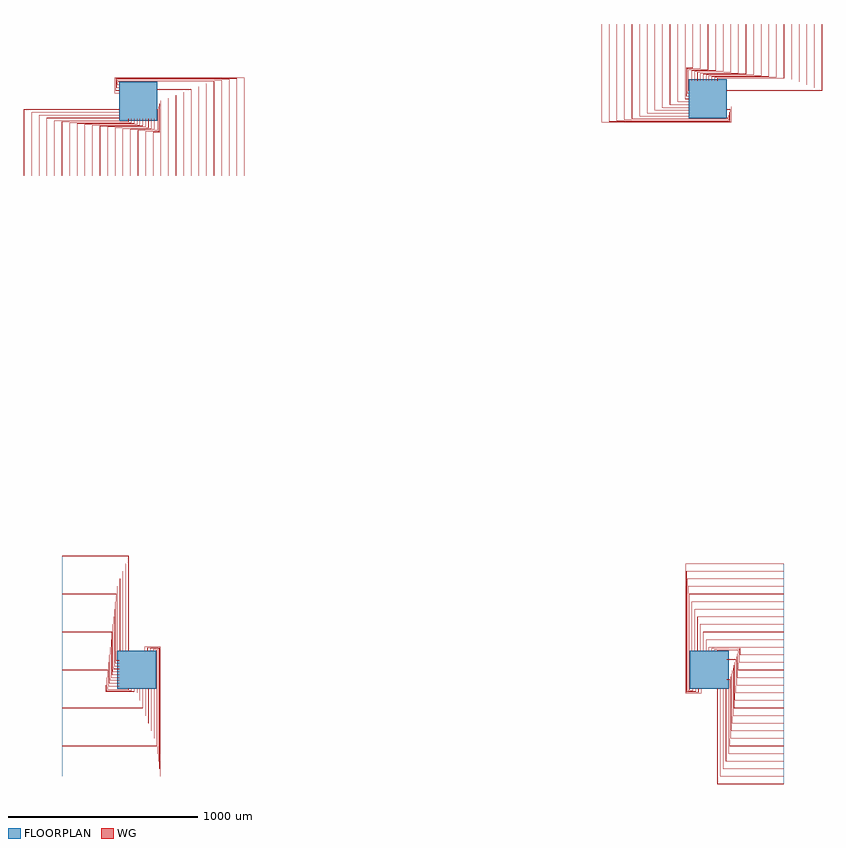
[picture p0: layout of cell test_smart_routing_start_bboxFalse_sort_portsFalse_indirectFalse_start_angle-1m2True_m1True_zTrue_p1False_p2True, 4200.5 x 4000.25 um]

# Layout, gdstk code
import gdstk
lib = gdstk.Library(unit=1e-6, precision=1e-09)
def R(c, l, rs):  # rectangles x0, y0, x1, y1
    for r in rs: c.add(gdstk.rectangle(r[:2], r[2:], *l))
def P(c, l, *ps):  # polygons
    for p in ps: c.add(gdstk.Polygon(p, *l))
WG = (1, 0)
FLOORPLAN = (10, 0)

test_smart_routing_start = lib.new_cell('test_smart_routing_start_bboxFalse_sort_portsFalse_indirectFalse_start_angle-1m2True_m1True_zTrue_p1False_p2True')
P(test_smart_routing_start, WG, [(3100,3049.75),(3100,3050.25),(3599.75,3050.25),(3599.75,3400),(3600.25,3400),(3600.25,3049.75)],
  [(3100,3064.75),(3100,3065.25),(3559.75,3065.25),(3559.75,3400),(3560.25,3400),(3560.25,3064.75)],
  [(3100,3079.75),(3100,3080.25),(3519.75,3080.25),(3519.75,3400),(3520.25,3400),(3520.25,3079.75)],
  [(3100,3094.75),(3100,3095.25),(3479.75,3095.25),(3479.75,3400),(3480.25,3400),(3480.25,3094.75)],
  [(3100,3109.75),(3100,3110.25),(3439.75,3110.25),(3439.75,3400),(3440.25,3400),(3440.25,3109.75)],
  [(3049.75,3100),(3049.75,3114.75),(3399.75,3114.75),(3399.75,3400),(3400.25,3400),(3400.25,3114.25),(3050.25,3114.25),(3050.25,3100)],
  [(3034.75,3100),(3034.75,3119.25),(3359.75,3119.25),(3359.75,3400),(3360.25,3400),(3360.25,3118.75),(3035.25,3118.75),(3035.25,3100)],
  [(3019.75,3100),(3019.75,3123.75),(3319.75,3123.75),(3319.75,3400),(3320.25,3400),(3320.25,3123.25),(3020.25,3123.25),(3020.25,3100)],
  [(3004.75,3100),(3004.75,3128.25),(3279.75,3128.25),(3279.75,3400),(3280.25,3400),(3280.25,3127.75),(3005.25,3127.75),(3005.25,3100)],
  [(2989.75,3100),(2989.75,3132.75),(3239.75,3132.75),(3239.75,3400),(3240.25,3400),(3240.25,3132.25),(2990.25,3132.25),(2990.25,3100)],
  [(2974.75,3100),(2974.75,3137.25),(3199.75,3137.25),(3199.75,3400),(3200.25,3400),(3200.25,3136.75),(2975.25,3136.75),(2975.25,3100)],
  [(2959.75,3100),(2959.75,3141.75),(3159.75,3141.75),(3159.75,3400),(3160.25,3400),(3160.25,3141.25),(2960.25,3141.25),(2960.25,3100)],
  [(2944.75,3100),(2944.75,3146.25),(3119.75,3146.25),(3119.75,3400),(3120.25,3400),(3120.25,3145.75),(2945.25,3145.75),(2945.25,3100)],
  [(2929.75,3100),(2929.75,3150.75),(3079.75,3150.75),(3079.75,3400),(3080.25,3400),(3080.25,3150.25),(2930.25,3150.25),(2930.25,3100)],
  [(2914.75,3100),(2914.75,3155.25),(3039.75,3155.25),(3039.75,3400),(3040.25,3400),(3040.25,3154.75),(2915.25,3154.75),(2915.25,3100)],
  [(2895.5,3049.75),(2895.5,3159.75),(2999.75,3159.75),(2999.75,3400),(3000.25,3400),(3000.25,3159.25),(2896,3159.25),(2896,3050.25),(2900,3050.25),(2900,3049.75)],
  [(2891,3034.75),(2891,3164.25),(2959.75,3164.25),(2959.75,3400),(2960.25,3400),(2960.25,3163.75),(2891.5,3163.75),(2891.5,3035.25),(2900,3035.25),(2900,3034.75)],
  [(2886.5,3019.75),(2886.5,3168.75),(2919.75,3168.75),(2919.75,3400),(2920.25,3400),(2920.25,3168.25),(2887,3168.25),(2887,3020.25),(2900,3020.25),(2900,3019.75)],
  [(2879.75,3004.75),(2879.75,3400),(2880.25,3400),(2880.25,3005.25),(2900,3005.25),(2900,3004.75)],
  [(2839.75,2989.75),(2839.75,3400),(2840.25,3400),(2840.25,2990.25),(2900,2990.25),(2900,2989.75)],
  [(2799.75,2974.75),(2799.75,3400),(2800.25,3400),(2800.25,2975.25),(2900,2975.25),(2900,2974.75)],
  [(2759.75,2959.75),(2759.75,3400),(2760.25,3400),(2760.25,2960.25),(2900,2960.25),(2900,2959.75)],
  [(2719.75,2944.75),(2719.75,3400),(2720.25,3400),(2720.25,2945.25),(2900,2945.25),(2900,2944.75)],
  [(2679.75,2929.75),(2679.75,3400),(2680.25,3400),(2680.25,2930.25),(2900,2930.25),(2900,2929.75)],
  [(2639.75,2914.75),(2639.75,3400),(2640.25,3400),(2640.25,2915.25),(2900,2915.25),(2900,2914.75)],
  [(2439.75,2882.25),(2439.75,3400),(2440.25,3400),(2440.25,2882.75),(3122,2882.75),(3122,2964.75),(3100,2964.75),(3100,2965.25),(3122.5,2965.25),(3122.5,2882.25)],
  [(2479.75,2886.75),(2479.75,3400),(2480.25,3400),(2480.25,2887.25),(3117.5,2887.25),(3117.5,2949.75),(3100,2949.75),(3100,2950.25),(3118,2950.25),(3118,2886.75)],
  [(2519.75,2891.25),(2519.75,3400),(2520.25,3400),(2520.25,2891.75),(3113,2891.75),(3113,2934.75),(3100,2934.75),(3100,2935.25),(3113.5,2935.25),(3113.5,2891.25)],
  [(2559.75,2895.75),(2559.75,3400),(2560.25,3400),(2560.25,2896.25),(3108.5,2896.25),(3108.5,2919.75),(3100,2919.75),(3100,2920.25),(3109,2920.25),(3109,2895.75)],
  [(2599.75,2900.25),(2599.75,3400),(2600.25,3400),(2600.25,2900.75),(3104,2900.75),(3104,2904.75),(3100,2904.75),(3100,2905.25),(3104.5,2905.25),(3104.5,2900.25)],
  [(-600.25,2600),(-600.25,2950.25),(-100,2950.25),(-100,2949.75),(-599.75,2949.75),(-599.75,2600)],
  [(-560.25,2600),(-560.25,2935.25),(-100,2935.25),(-100,2934.75),(-559.75,2934.75),(-559.75,2600)],
  [(-520.25,2600),(-520.25,2920.25),(-100,2920.25),(-100,2919.75),(-519.75,2919.75),(-519.75,2600)],
  [(-480.25,2600),(-480.25,2905.25),(-100,2905.25),(-100,2904.75),(-479.75,2904.75),(-479.75,2600)],
  [(-440.25,2600),(-440.25,2890.25),(-100,2890.25),(-100,2889.75),(-439.75,2889.75),(-439.75,2600)],
  [(-400.25,2600),(-400.25,2885.75),(-50.25,2885.75),(-50.25,2900),(-49.75,2900),(-49.75,2885.25),(-399.75,2885.25),(-399.75,2600)],
  [(-360.25,2600),(-360.25,2881.25),(-35.25,2881.25),(-35.25,2900),(-34.75,2900),(-34.75,2880.75),(-359.75,2880.75),(-359.75,2600)],
  [(-320.25,2600),(-320.25,2876.75),(-20.25,2876.75),(-20.25,2900),(-19.75,2900),(-19.75,2876.25),(-319.75,2876.25),(-319.75,2600)],
  [(-280.25,2600),(-280.25,2872.25),(-5.25,2872.25),(-5.25,2900),(-4.75,2900),(-4.75,2871.75),(-279.75,2871.75),(-279.75,2600)],
  [(-240.25,2600),(-240.25,2867.75),(9.75,2867.75),(9.75,2900),(10.25,2900),(10.25,2867.25),(-239.75,2867.25),(-239.75,2600)],
  [(-200.25,2600),(-200.25,2863.25),(24.75,2863.25),(24.75,2900),(25.25,2900),(25.25,2862.75),(-199.75,2862.75),(-199.75,2600)],
  [(-160.25,2600),(-160.25,2858.75),(39.75,2858.75),(39.75,2900),(40.25,2900),(40.25,2858.25),(-159.75,2858.25),(-159.75,2600)],
  [(-120.25,2600),(-120.25,2854.25),(54.75,2854.25),(54.75,2900),(55.25,2900),(55.25,2853.75),(-119.75,2853.75),(-119.75,2600)],
  [(-80.25,2600),(-80.25,2849.75),(69.75,2849.75),(69.75,2900),(70.25,2900),(70.25,2849.25),(-79.75,2849.25),(-79.75,2600)],
  [(-40.25,2600),(-40.25,2845.25),(84.75,2845.25),(84.75,2900),(85.25,2900),(85.25,2844.75),(-39.75,2844.75),(-39.75,2600)],
  [(-0.25,2600),(-0.25,2840.75),(104,2840.75),(104,2949.75),(100,2949.75),(100,2950.25),(104.5,2950.25),(104.5,2840.25),(0.25,2840.25),(0.25,2600)],
  [(39.75,2600),(39.75,2836.25),(108.5,2836.25),(108.5,2964.75),(100,2964.75),(100,2965.25),(109,2965.25),(109,2835.75),(40.25,2835.75),(40.25,2600)],
  [(79.75,2600),(79.75,2831.75),(113,2831.75),(113,2979.75),(100,2979.75),(100,2980.25),(113.5,2980.25),(113.5,2831.25),(80.25,2831.25),(80.25,2600)],
  [(119.75,2600),(119.75,2994.75),(100,2994.75),(100,2995.25),(120.25,2995.25),(120.25,2600)],
  [(159.75,2600),(159.75,3009.75),(100,3009.75),(100,3010.25),(160.25,3010.25),(160.25,2600)],
  [(199.75,2600),(199.75,3024.75),(100,3024.75),(100,3025.25),(200.25,3025.25),(200.25,2600)],
  [(239.75,2600),(239.75,3039.75),(100,3039.75),(100,3040.25),(240.25,3040.25),(240.25,2600)],
  [(279.75,2600),(279.75,3054.75),(100,3054.75),(100,3055.25),(280.25,3055.25),(280.25,2600)],
  [(319.75,2600),(319.75,3069.75),(100,3069.75),(100,3070.25),(320.25,3070.25),(320.25,2600)],
  [(359.75,2600),(359.75,3084.75),(100,3084.75),(100,3085.25),(360.25,3085.25),(360.25,2600)],
  [(559.75,2600),(559.75,3117.25),(-122,3117.25),(-122,3035.25),(-100,3035.25),(-100,3034.75),(-122.5,3034.75),(-122.5,3117.75),(560.25,3117.75),(560.25,2600)],
  [(519.75,2600),(519.75,3112.75),(-117.5,3112.75),(-117.5,3050.25),(-100,3050.25),(-100,3049.75),(-118,3049.75),(-118,3113.25),(520.25,3113.25),(520.25,2600)],
  [(479.75,2600),(479.75,3108.25),(-113,3108.25),(-113,3065.25),(-100,3065.25),(-100,3064.75),(-113.5,3064.75),(-113.5,3108.75),(480.25,3108.75),(480.25,2600)],
  [(439.75,2600),(439.75,3103.75),(-108.5,3103.75),(-108.5,3080.25),(-100,3080.25),(-100,3079.75),(-109,3079.75),(-109,3104.25),(440.25,3104.25),(440.25,2600)],
  [(399.75,2600),(399.75,3099.25),(-104,3099.25),(-104,3095.25),(-100,3095.25),(-100,3094.75),(-104.5,3094.75),(-104.5,3099.75),(400.25,3099.75),(400.25,2600)],
  [(-50.25,100),(-50.25,599.75),(-400,599.75),(-400,600.25),(-49.75,600.25),(-49.75,100)],
  [(-65.25,100),(-65.25,559.75),(-400,559.75),(-400,560.25),(-64.75,560.25),(-64.75,100)],
  [(-80.25,100),(-80.25,519.75),(-400,519.75),(-400,520.25),(-79.75,520.25),(-79.75,100)],
  [(-95.25,100),(-95.25,479.75),(-400,479.75),(-400,480.25),(-94.75,480.25),(-94.75,100)],
  [(-110.25,100),(-110.25,439.75),(-400,439.75),(-400,440.25),(-109.75,440.25),(-109.75,100)],
  [(-114.75,49.75),(-114.75,399.75),(-400,399.75),(-400,400.25),(-114.25,400.25),(-114.25,50.25),(-100,50.25),(-100,49.75)],
  [(-119.25,34.75),(-119.25,359.75),(-400,359.75),(-400,360.25),(-118.75,360.25),(-118.75,35.25),(-100,35.25),(-100,34.75)],
  [(-123.75,19.75),(-123.75,319.75),(-400,319.75),(-400,320.25),(-123.25,320.25),(-123.25,20.25),(-100,20.25),(-100,19.75)],
  [(-128.25,4.75),(-128.25,279.75),(-400,279.75),(-400,280.25),(-127.75,280.25),(-127.75,5.25),(-100,5.25),(-100,4.75)],
  [(-132.75,-10.25),(-132.75,239.75),(-400,239.75),(-400,240.25),(-132.25,240.25),(-132.25,-9.75),(-100,-9.75),(-100,-10.25)],
  [(-137.25,-25.25),(-137.25,199.75),(-400,199.75),(-400,200.25),(-136.75,200.25),(-136.75,-24.75),(-100,-24.75),(-100,-25.25)],
  [(-141.75,-40.25),(-141.75,159.75),(-400,159.75),(-400,160.25),(-141.25,160.25),(-141.25,-39.75),(-100,-39.75),(-100,-40.25)],
  [(-146.25,-55.25),(-146.25,119.75),(-400,119.75),(-400,120.25),(-145.75,120.25),(-145.75,-54.75),(-100,-54.75),(-100,-55.25)],
  [(-150.75,-70.25),(-150.75,79.75),(-400,79.75),(-400,80.25),(-150.25,80.25),(-150.25,-69.75),(-100,-69.75),(-100,-70.25)],
  [(-155.25,-85.25),(-155.25,39.75),(-400,39.75),(-400,40.25),(-154.75,40.25),(-154.75,-84.75),(-100,-84.75),(-100,-85.25)],
  [(-159.75,-104.5),(-159.75,-0.25),(-400,-0.25),(-400,0.25),(-159.25,0.25),(-159.25,-104),(-50.25,-104),(-50.25,-100),(-49.75,-100),(-49.75,-104.5)],
  [(-164.25,-109),(-164.25,-40.25),(-400,-40.25),(-400,-39.75),(-163.75,-39.75),(-163.75,-108.5),(-35.25,-108.5),(-35.25,-100),(-34.75,-100),(-34.75,-109)],
  [(-168.75,-113.5),(-168.75,-80.25),(-400,-80.25),(-400,-79.75),(-168.25,-79.75),(-168.25,-113),(-20.25,-113),(-20.25,-100),(-19.75,-100),(-19.75,-113.5)],
  [(-400,-120.25),(-400,-119.75),(-5.25,-119.75),(-5.25,-100),(-4.75,-100),(-4.75,-120.25)],
  [(-400,-160.25),(-400,-159.75),(9.75,-159.75),(9.75,-100),(10.25,-100),(10.25,-160.25)],
  [(-400,-200.25),(-400,-199.75),(24.75,-199.75),(24.75,-100),(25.25,-100),(25.25,-200.25)],
  [(-400,-240.25),(-400,-239.75),(39.75,-239.75),(39.75,-100),(40.25,-100),(40.25,-240.25)],
  [(-400,-280.25),(-400,-279.75),(54.75,-279.75),(54.75,-100),(55.25,-100),(55.25,-280.25)],
  [(-400,-320.25),(-400,-319.75),(69.75,-319.75),(69.75,-100),(70.25,-100),(70.25,-320.25)],
  [(-400,-360.25),(-400,-359.75),(84.75,-359.75),(84.75,-100),(85.25,-100),(85.25,-360.25)],
  [(-400,-560.25),(-400,-559.75),(117.25,-559.75),(117.25,122),(35.25,122),(35.25,100),(34.75,100),(34.75,122.5),(117.75,122.5),(117.75,-560.25)],
  [(-400,-520.25),(-400,-519.75),(112.75,-519.75),(112.75,117.5),(50.25,117.5),(50.25,100),(49.75,100),(49.75,118),(113.25,118),(113.25,-520.25)],
  [(-400,-480.25),(-400,-479.75),(108.25,-479.75),(108.25,113),(65.25,113),(65.25,100),(64.75,100),(64.75,113.5),(108.75,113.5),(108.75,-480.25)],
  [(-400,-440.25),(-400,-439.75),(103.75,-439.75),(103.75,108.5),(80.25,108.5),(80.25,100),(79.75,100),(79.75,109),(104.25,109),(104.25,-440.25)],
  [(-400,-400.25),(-400,-399.75),(99.25,-399.75),(99.25,104),(95.25,104),(95.25,100),(94.75,100),(94.75,104.5),(99.75,104.5),(99.75,-400.25)],
  [(3049.75,-600.25),(3049.75,-100),(3050.25,-100),(3050.25,-599.75),(3400,-599.75),(3400,-600.25)],
  [(3064.75,-560.25),(3064.75,-100),(3065.25,-100),(3065.25,-559.75),(3400,-559.75),(3400,-560.25)],
  [(3079.75,-520.25),(3079.75,-100),(3080.25,-100),(3080.25,-519.75),(3400,-519.75),(3400,-520.25)],
  [(3094.75,-480.25),(3094.75,-100),(3095.25,-100),(3095.25,-479.75),(3400,-479.75),(3400,-480.25)],
  [(3109.75,-440.25),(3109.75,-100),(3110.25,-100),(3110.25,-439.75),(3400,-439.75),(3400,-440.25)],
  [(3114.25,-400.25),(3114.25,-50.25),(3100,-50.25),(3100,-49.75),(3114.75,-49.75),(3114.75,-399.75),(3400,-399.75),(3400,-400.25)],
  [(3118.75,-360.25),(3118.75,-35.25),(3100,-35.25),(3100,-34.75),(3119.25,-34.75),(3119.25,-359.75),(3400,-359.75),(3400,-360.25)],
  [(3123.25,-320.25),(3123.25,-20.25),(3100,-20.25),(3100,-19.75),(3123.75,-19.75),(3123.75,-319.75),(3400,-319.75),(3400,-320.25)],
  [(3127.75,-280.25),(3127.75,-5.25),(3100,-5.25),(3100,-4.75),(3128.25,-4.75),(3128.25,-279.75),(3400,-279.75),(3400,-280.25)],
  [(3132.25,-240.25),(3132.25,9.75),(3100,9.75),(3100,10.25),(3132.75,10.25),(3132.75,-239.75),(3400,-239.75),(3400,-240.25)],
  [(3136.75,-200.25),(3136.75,24.75),(3100,24.75),(3100,25.25),(3137.25,25.25),(3137.25,-199.75),(3400,-199.75),(3400,-200.25)],
  [(3141.25,-160.25),(3141.25,39.75),(3100,39.75),(3100,40.25),(3141.75,40.25),(3141.75,-159.75),(3400,-159.75),(3400,-160.25)],
  [(3145.75,-120.25),(3145.75,54.75),(3100,54.75),(3100,55.25),(3146.25,55.25),(3146.25,-119.75),(3400,-119.75),(3400,-120.25)],
  [(3150.25,-80.25),(3150.25,69.75),(3100,69.75),(3100,70.25),(3150.75,70.25),(3150.75,-79.75),(3400,-79.75),(3400,-80.25)],
  [(3154.75,-40.25),(3154.75,84.75),(3100,84.75),(3100,85.25),(3155.25,85.25),(3155.25,-39.75),(3400,-39.75),(3400,-40.25)],
  [(3159.25,-0.25),(3159.25,104),(3050.25,104),(3050.25,100),(3049.75,100),(3049.75,104.5),(3159.75,104.5),(3159.75,0.25),(3400,0.25),(3400,-0.25)],
  [(3163.75,39.75),(3163.75,108.5),(3035.25,108.5),(3035.25,100),(3034.75,100),(3034.75,109),(3164.25,109),(3164.25,40.25),(3400,40.25),(3400,39.75)],
  [(3168.25,79.75),(3168.25,113),(3020.25,113),(3020.25,100),(3019.75,100),(3019.75,113.5),(3168.75,113.5),(3168.75,80.25),(3400,80.25),(3400,79.75)],
  [(3004.75,100),(3004.75,120.25),(3400,120.25),(3400,119.75),(3005.25,119.75),(3005.25,100)],
  [(2989.75,100),(2989.75,160.25),(3400,160.25),(3400,159.75),(2990.25,159.75),(2990.25,100)],
  [(2974.75,100),(2974.75,200.25),(3400,200.25),(3400,199.75),(2975.25,199.75),(2975.25,100)],
  [(2959.75,100),(2959.75,240.25),(3400,240.25),(3400,239.75),(2960.25,239.75),(2960.25,100)],
  [(2944.75,100),(2944.75,280.25),(3400,280.25),(3400,279.75),(2945.25,279.75),(2945.25,100)],
  [(2929.75,100),(2929.75,320.25),(3400,320.25),(3400,319.75),(2930.25,319.75),(2930.25,100)],
  [(2914.75,100),(2914.75,360.25),(3400,360.25),(3400,359.75),(2915.25,359.75),(2915.25,100)],
  [(2882.25,-122.5),(2882.25,560.25),(3400,560.25),(3400,559.75),(2882.75,559.75),(2882.75,-122),(2964.75,-122),(2964.75,-100),(2965.25,-100),(2965.25,-122.5)],
  [(2886.75,-118),(2886.75,520.25),(3400,520.25),(3400,519.75),(2887.25,519.75),(2887.25,-117.5),(2949.75,-117.5),(2949.75,-100),(2950.25,-100),(2950.25,-118)],
  [(2891.25,-113.5),(2891.25,480.25),(3400,480.25),(3400,479.75),(2891.75,479.75),(2891.75,-113),(2934.75,-113),(2934.75,-100),(2935.25,-100),(2935.25,-113.5)],
  [(2895.75,-109),(2895.75,440.25),(3400,440.25),(3400,439.75),(2896.25,439.75),(2896.25,-108.5),(2919.75,-108.5),(2919.75,-100),(2920.25,-100),(2920.25,-109)],
  [(2900.25,-104.5),(2900.25,400.25),(3400,400.25),(3400,399.75),(2900.75,399.75),(2900.75,-104),(2904.75,-104),(2904.75,-100),(2905.25,-100),(2905.25,-104.5)])
R(test_smart_routing_start, FLOORPLAN, [(-110,-100,95,100), (2905,-100,3110,100), (-100,2890,100,3095), (2900,2905,3100,3110)])
P(test_smart_routing_start, FLOORPLAN, [(-400,-560),(-400,600),(-400,600),(-400,-560)],
  [(-600,2600),(-600,2600),(560,2600),(560,2600)],
  [(3400,-600),(3400,560),(3400,560),(3400,-600)],
  [(2440,3400),(2440,3400),(3600,3400),(3600,3400)])

lib.write_gds('test_smart_routing_start_bboxFalse_sort_portsFalse_indirectFalse_start_angle-1m2True_m1True_zTrue_p1False_p2True.gds')
